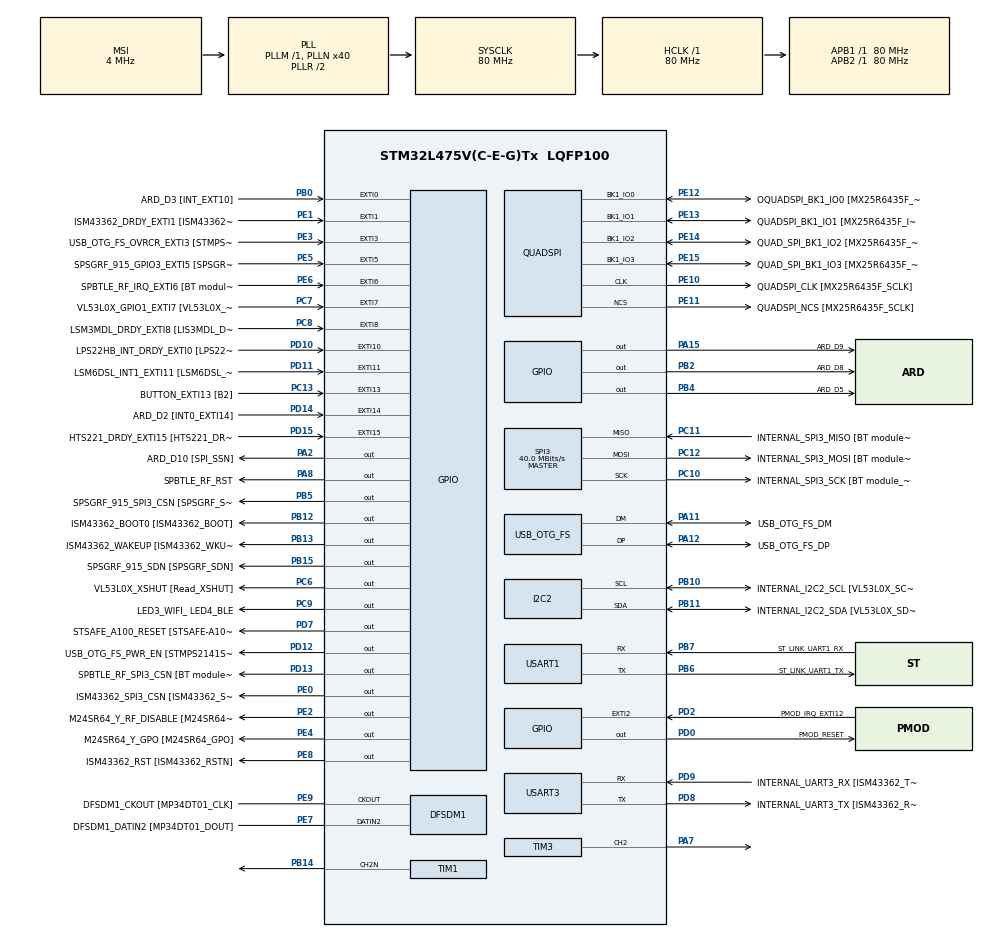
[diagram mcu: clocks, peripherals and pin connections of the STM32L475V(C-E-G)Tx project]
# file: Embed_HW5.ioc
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I2C2.Timing=0x10909CEC
Mcu.Family=STM32L4
Mcu.Name=STM32L475V(C-E-G)Tx
Mcu.Package=LQFP100
NVIC.EXTI15_10_IRQn=true\:0\:0\:false\:false\:true\:true\:true\:true
NVIC.EXTI9_5_IRQn=true\:0\:0\:false\:false\:true\:true\:true\:true
NVIC.PriorityGroup=NVIC_PRIORITYGROUP_4
PA0.GPIO_Label=ARD_D1 [UART4_TX]
PA0.Signal=UART4_TX
PA1.GPIO_Label=ARD_D0 [UART4_RX]
PA1.Signal=UART4_RX
PA10.GPIO_Label=USB_OTG_FS_ID
PA10.Signal=USB_OTG_FS_ID
PA11.GPIO_Label=USB_OTG_FS_DM
PA11.Mode=Device_Only
PA11.Signal=USB_OTG_FS_DM
PA12.GPIO_Label=USB_OTG_FS_DP
PA12.Mode=Device_Only
PA12.Signal=USB_OTG_FS_DP
PA13\ (JTMS-SWDIO).GPIO_Label=SYS_JTMS_SWDIO
PA13\ (JTMS-SWDIO).Mode=Serial_Wire
PA13\ (JTMS-SWDIO).Signal=SYS_JTMS-SWDIO
PA14\ (JTCK-SWCLK).GPIO_Label=SYS_JTCK_SWCLK
PA14\ (JTCK-SWCLK).Mode=Serial_Wire
PA14\ (JTCK-SWCLK).Signal=SYS_JTCK-SWCLK
PA15\ (JTDI).GPIO_Label=ARD_D9
PA15\ (JTDI).Signal=GPIO_Output
PA2.GPIO_Label=ARD_D10 [SPI_SSN]
PA2.Signal=GPIO_Output
PA3.GPIO_Label=ARD_D4
PA3.Signal=S_TIM2_CH4
PA4.GPIO_Label=ARD_D7
PA4.Signal=ADCx_IN9
PA5.GPIO_Label=ARD_D13 [SPI1_SCK]
PA5.Signal=SPI1_SCK
PA6.GPIO_Label=ARD_D12 [SPI1_MISO]
PA6.Signal=SPI1_MISO
PA7.Signal=S_TIM3_CH2
PA8.GPIO_Label=SPBTLE_RF_RST
PA8.Signal=GPIO_Output
PA9.GPIO_Label=USB_OTG_FS_VBUS [STMPS2141STR_OUT]
PA9.Signal=USB_OTG_FS_VBUS
PB0.GPIO_Label=ARD_D3 [INT_EXT10]
PB0.Signal=GPXTI0
PB1.GPIO_Label=ARD_D6 [ADC1_IN6]
PB1.Signal=ADCx_IN16
PB10.GPIO_Label=INTERNAL_I2C2_SCL [VL53L0X_SCL]
PB10.GPIO_Pu=GPIO_PULLUP
PB10.Mode=I2C
PB10.Signal=I2C2_SCL
PB11.GPIO_Label=INTERNAL_I2C2_SDA [VL53L0X_SDA]
PB11.GPIO_Pu=GPIO_PULLUP
PB11.Mode=I2C
PB11.Signal=I2C2_SDA
PB12.GPIO_Label=ISM43362_BOOT0 [ISM43362_BOOT]
PB12.Signal=GPIO_Output
PB13.GPIO_Label=ISM43362_WAKEUP [ISM43362_WKUP]
PB13.Signal=GPIO_Output
PB14.Mode=PWM Generation2 CH2N
PB14.Signal=TIM1_CH2N
PB15.GPIO_Label=SPSGRF_915_SDN [SPSGRF_SDN]
PB15.Signal=GPIO_Output
PB2.GPIO_Label=ARD_D8
PB2.Signal=GPIO_Output
PB3\ (JTDO-TRACESWO).GPIO_Label=SYS_JTD0_SWO
PB3\ (JTDO-TRACESWO).Signal=SYS_JTDO-SWO
PB4\ (NJTRST).GPIO_Label=ARD_D5
PB4\ (NJTRST).Signal=GPIO_Output
PB5.GPIO_Label=SPSGRF_915_SPI3_CSN [SPSGRF_SPI_CS]
PB5.PinState=GPIO_PIN_SET
PB5.Signal=GPIO_Output
PB6.GPIO_Label=ST_LINK_UART1_TX
PB6.Mode=Asynchronous
PB6.Signal=USART1_TX
PB7.GPIO_Label=ST_LINK_UART1_RX
PB7.Mode=Asynchronous
PB7.Signal=USART1_RX
PB8.GPIO_Label=ARD_D15 [I2C1_SCL]
PB8.Signal=I2C1_SCL
PB9.GPIO_Label=ARD_D14 [I2C1_SDA]
PB9.Signal=I2C1_SDA
PC0.GPIO_Label=ARD_A5 [ADC]
PC0.Signal=ADCx_IN1
PC1.GPIO_Label=ARD_A4 [ADC]
PC1.Signal=ADCx_IN2
PC10.GPIO_Label=INTERNAL_SPI3_SCK [BT module_SPI_SCLK] [ISM43362_SCK]
PC10.Mode=Full_Duplex_Master
PC10.Signal=SPI3_SCK
PC11.GPIO_Label=INTERNAL_SPI3_MISO [BT module_SPI_MISO] [ISM43362_MISO]
PC11.Mode=Full_Duplex_Master
PC11.Signal=SPI3_MISO
PC12.GPIO_Label=INTERNAL_SPI3_MOSI [BT module_SPI_MOSI] [ISM43362_MOSI]
PC12.Mode=Full_Duplex_Master
PC12.Signal=SPI3_MOSI
PC13.GPIO_Label=BUTTON_EXTI13 [B2]
PC13.GPIO_ModeDefaultEXTI=GPIO_MODE_IT_FALLING
PC13.Signal=GPXTI13
PC14-OSC32_IN\ (PC14).Mode=LSE-External-Oscillator
PC14-OSC32_IN\ (PC14).Signal=RCC_OSC32_IN
PC15-OSC32_OUT\ (PC15).Mode=LSE-External-Oscillator
PC15-OSC32_OUT\ (PC15).Signal=RCC_OSC32_OUT
PC2.GPIO_Label=ARD_A3 [ADC]
PC2.Signal=ADCx_IN3
PC3.GPIO_Label=ARD_A2 [ADC]
PC3.Signal=ADCx_IN4
PC4.GPIO_Label=ARD_A1 [ADC]
PC4.Signal=ADCx_IN13
PC5.GPIO_Label=ARD_A0 [ADC]
PC5.Signal=ADCx_IN14
PC6.GPIO_Label=VL53L0X_XSHUT [Read_XSHUT]
PC6.Signal=GPIO_Output
PC7.GPIO_Label=VL53L0X_GPIO1_EXTI7 [VL53L0X_GPIO1]
PC7.Signal=GPXTI7
PC8.GPIO_Label=LSM3MDL_DRDY_EXTI8 [LIS3MDL_DRDY]
PC8.Signal=GPXTI8
PC9.GPIO_Label=LED3_WIFI_ LED4_BLE
PC9.Signal=GPIO_Output
PD0.GPIO_Label=PMOD_RESET
PD0.Signal=GPIO_Output
PD1.GPIO_Label=PMOD_SPI2_SCK
PD1.Signal=SPI2_SCK
PD10.GPIO_Label=LPS22HB_INT_DRDY_EXTI0 [LPS22HB_INT_DRDY] 
PD10.Signal=GPXTI10
PD11.GPIO_Label=LSM6DSL_INT1_EXTI11 [LSM6DSL_INT1]
PD11.Signal=GPXTI11
PD12.GPIO_Label=USB_OTG_FS_PWR_EN [STMPS2141STR_EN]
PD12.Signal=GPIO_Output
PD13.GPIO_Label=SPBTLE_RF_SPI3_CSN [BT module_SPI_CS]
PD13.PinState=GPIO_PIN_SET
PD13.Signal=GPIO_Output
PD14.GPIO_Label=ARD_D2 [INT0_EXTI14]
PD14.Signal=GPXTI14
PD15.GPIO_Label=HTS221_DRDY_EXTI15 [HTS221_DRDY]
PD15.Signal=GPXTI15
PD2.GPIO_Label=PMOD_IRQ_EXTI12
PD2.Signal=GPXTI2
PD3.GPIO_Label=PMOD_UART2_CTS
PD3.Signal=USART2_CTS
PD4.GPIO_Label=PMOD_UART2_RTS
PD4.Signal=USART2_RTS
PD5.GPIO_Label=PMOD_UART2_TX
PD5.Signal=USART2_TX
PD6.GPIO_Label=PMOD_UART2_RX
PD6.Signal=USART2_RX
PD7.GPIO_Label=STSAFE_A100_RESET [STSAFE-A100_RESET]
PD7.Signal=GPIO_Output
PD8.GPIO_Label=INTERNAL_UART3_TX [ISM43362_RX]
PD8.Mode=Asynchronous
PD8.Signal=USART3_TX
PD9.GPIO_Label=INTERNAL_UART3_RX [ISM43362_TX]
PD9.Mode=Asynchronous
PD9.Signal=USART3_RX
PE0.GPIO_Label=ISM43362_SPI3_CSN [ISM43362_SSN]
PE0.PinState=GPIO_PIN_SET
PE0.Signal=GPIO_Output
PE1.GPIO_Label=ISM43362_DRDY_EXTI1 [ISM43362_DATARDY]
PE1.Signal=GPXTI1
PE10.GPIO_Label=QUADSPI_CLK [MX25R6435F_SCLK]
PE10.Mode=Single Bank
PE10.Signal=QUADSPI_CLK
PE11.GPIO_Label=QUADSPI_NCS [MX25R6435F_SCLK]
PE11.Mode=Single Bank
PE11.Signal=QUADSPI_NCS
PE12.GPIO_Label=OQUADSPI_BK1_IO0 [MX25R6435F_IO0]
PE12.Mode=Single Bank
PE12.Signal=QUADSPI_BK1_IO0
PE13.GPIO_Label=QUADSPI_BK1_IO1 [MX25R6435F_IO1]
PE13.Mode=Single Bank
PE13.Signal=QUADSPI_BK1_IO1
PE14.GPIO_Label=QUAD_SPI_BK1_IO2 [MX25R6435F_IO2]
PE14.Mode=Single Bank
PE14.Signal=QUADSPI_BK1_IO2
PE15.GPIO_Label=QUAD_SPI_BK1_IO3 [MX25R6435F_IO3]
PE15.Mode=Single Bank
PE15.Signal=QUADSPI_BK1_IO3
PE2.GPIO_Label=M24SR64_Y_RF_DISABLE [M24SR64_RFDIS]
PE2.Signal=GPIO_Output
PE3.GPIO_Label=USB_OTG_FS_OVRCR_EXTI3 [STMPS2141STR_FAULT]
PE3.Signal=GPXTI3
PE4.GPIO_Label=M24SR64_Y_GPO [M24SR64_GPO]
PE4.Signal=GPIO_Output
PE5.GPIO_Label=SPSGRF_915_GPIO3_EXTI5 [SPSGRF_GPIO_3]
PE5.Signal=GPXTI5
PE6.GPIO_Label=SPBTLE_RF_IRQ_EXTI6 [BT module_SPI_IRQ]
PE6.Signal=GPXTI6
PE7.GPIO_Label=DFSDM1_DATIN2 [MP34DT01_DOUT]
PE7.Signal=S_DATAIN2DFSDM1
PE8.GPIO_Label=ISM43362_RST [ISM43362_RSTN]
PE8.Signal=GPIO_Output
PE9.GPIO_Label=DFSDM1_CKOUT [MP34DT01_CLK]
PE9.Signal=S_CKOUTDFSDM1
ProjectManager.HeapSize=0x200
ProjectManager.StackSize=0x400
ProjectManager.TargetToolchain=STM32CubeIDE
QUADSPI.ClockPrescaler=2
QUADSPI.FifoThreshold=4
QUADSPI.FlashSize=23
QUADSPI.SampleShifting=QSPI_SAMPLE_SHIFTING_HALFCYCLE
RCC.ADCFreq_Value=48000000
RCC.AHBFreq_Value=80000000
RCC.APB1Freq_Value=80000000
RCC.APB1TimFreq_Value=80000000
RCC.APB2Freq_Value=80000000
RCC.APB2TimFreq_Value=80000000
RCC.CortexFreq_Value=80000000
RCC.HCLKFreq_Value=80000000
RCC.HSE_VALUE=8000000
RCC.HSI_VALUE=16000000
RCC.MSI_VALUE=4000000
RCC.PLLN=40
RCC.PLLSAI1N=24
RCC.SYSCLKFreq_VALUE=80000000
RCC.SYSCLKSource=RCC_SYSCLKSOURCE_PLLCLK
RCC.USBFreq_Value=48000000
RCC.VCOOutputFreq_Value=160000000
SH.ADCx_IN1.0=ADC1_IN1
SH.ADCx_IN13.0=ADC1_IN13
SH.ADCx_IN14.0=ADC1_IN14
SH.ADCx_IN16.0=ADC1_IN16
SH.ADCx_IN2.0=ADC1_IN2
SH.ADCx_IN3.0=ADC1_IN3
SH.ADCx_IN4.0=ADC1_IN4
SH.ADCx_IN9.0=ADC1_IN9
SH.S_CKOUTDFSDM1.0=DFSDM1_CKOUT,CKOUT
SH.S_CKOUTDFSDM1.1=DFSDM1_CKOUT,PDM_SPI_Input_from_ch12_and_Internal_Clock
SH.S_DATAIN2DFSDM1.0=DFSDM1_DATIN2,PDM_SPI_Input_from_ch12_and_Internal_Clock
SH.S_TIM2_CH4.0=TIM2_CH4
SH.S_TIM3_CH2.0=TIM3_CH2,PWM Generation2 CH2
SPI3.CalculateBaudRate=40.0 MBits/s
SPI3.Direction=SPI_DIRECTION_2LINES
SPI3.Mode=SPI_MODE_MASTER
SPI3.VirtualType=VM_MASTER
TIM1.Channel-PWM\ Generation2\ CH2N=TIM_CHANNEL_2
TIM1.Period=1000-1
TIM1.Prescaler=80-1
TIM1.Pulse-PWM\ Generation2\ CH2N=500
TIM3.Channel-PWM\ Generation2\ CH2=TIM_CHANNEL_2
TIM3.Period=1000-1
TIM3.Prescaler=80-1
TIM3.Pulse-PWM\ Generation2\ CH2=500
USART1.VirtualMode-Asynchronous=VM_ASYNC
USART3.VirtualMode-Asynchronous=VM_ASYNC
USB_OTG_FS.VirtualMode=Device_Only
VP_TIM1_VS_ClockSourceINT.Mode=Internal
VP_TIM3_VS_ClockSourceINT.Mode=Internal
board=B-L475E-IOT01A2

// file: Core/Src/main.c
/* USER CODE BEGIN Header */
/**
  ******************************************************************************
  * @file           : main.c
  * @brief          : Main program body
  ******************************************************************************
  * @attention
  *
  * Copyright (c) 2024 STMicroelectronics.
  * All rights reserved.
  *
  * This software is licensed under terms that can be found in the LICENSE file
  * in the root directory of this software component.
  * If no LICENSE file comes with this software, it is provided AS-IS.
  *
  ******************************************************************************
  */
/* USER CODE END Header */
#include "main.h"
#include "dfsdm.h"
#include "i2c.h"
#include "quadspi.h"
#include "spi.h"
#include "tim.h"
#include "usart.h"
#include "usb_otg.h"
#include "gpio.h"

void SystemClock_Config(void);

/* USER CODE BEGIN 0 */

int flag = 0;

float LED_Breath(float duty_cycle){
	if (flag == 0){
		duty_cycle = duty_cycle + 0.07;
	}
	if (flag == 1){
		duty_cycle = duty_cycle - 0.07;
	}

	if (duty_cycle > 0.8) {
		flag = 1;
	}
	if (duty_cycle < 0.1) {
		flag = 0;
	}

	HAL_Delay(50);
	return duty_cycle;
}

/* USER CODE END 0 */

int main(void)
{

  /* MCU Configuration--------------------------------------------------------*/

  /* Reset of all peripherals, Initializes the Flash interface and the Systick. */
  HAL_Init();

  /* Configure the system clock */
  SystemClock_Config();

  /* Initialize all configured peripherals */
  MX_GPIO_Init();
  MX_DFSDM1_Init();
  MX_I2C2_Init();
  MX_QUADSPI_Init();
  MX_SPI3_Init();
  MX_USART1_UART_Init();
  MX_USART3_UART_Init();
  MX_USB_OTG_FS_PCD_Init();
  MX_TIM1_Init();
  MX_TIM3_Init();
  /* USER CODE BEGIN 2 */

  HAL_TIMEx_PWMN_Start(&htim1, TIM_CHANNEL_2);
  // HAL_TIM_PWM_Start(&htim3, TIM_CHANNEL_2);

  float ARR = 999;
  float duty_cycle = 0.1;

  /* USER CODE END 2 */

  /* Infinite loop */
  /* USER CODE BEGIN WHILE */
  while (1)
  {
	  float new_duty_cycle = LED_Breath(duty_cycle);
	  htim1.Instance->CCR2 = ARR * new_duty_cycle;
	  duty_cycle = new_duty_cycle;
    /* USER CODE END WHILE */

  }
}

void SystemClock_Config(void)
{
  RCC_OscInitTypeDef RCC_OscInitStruct = {0};
  RCC_ClkInitTypeDef RCC_ClkInitStruct = {0};

  /** Configure the main internal regulator output voltage
  */
  if (HAL_PWREx_ControlVoltageScaling(PWR_REGULATOR_VOLTAGE_SCALE1) != HAL_OK)
  {
    Error_Handler();
  }

  /** Configure LSE Drive Capability
  */
  HAL_PWR_EnableBkUpAccess();
  __HAL_RCC_LSEDRIVE_CONFIG(RCC_LSEDRIVE_LOW);

  /** Initializes the RCC Oscillators according to the specified parameters
  * in the RCC_OscInitTypeDef structure.
  */
  RCC_OscInitStruct.OscillatorType = RCC_OSCILLATORTYPE_LSE|RCC_OSCILLATORTYPE_MSI;
  RCC_OscInitStruct.LSEState = RCC_LSE_ON;
  RCC_OscInitStruct.MSIState = RCC_MSI_ON;
  RCC_OscInitStruct.MSICalibrationValue = 0;
  RCC_OscInitStruct.MSIClockRange = RCC_MSIRANGE_6;
  RCC_OscInitStruct.PLL.PLLState = RCC_PLL_ON;
  RCC_OscInitStruct.PLL.PLLSource = RCC_PLLSOURCE_MSI;
  RCC_OscInitStruct.PLL.PLLM = 1;
  RCC_OscInitStruct.PLL.PLLN = 40;
  RCC_OscInitStruct.PLL.PLLP = RCC_PLLP_DIV7;
  RCC_OscInitStruct.PLL.PLLQ = RCC_PLLQ_DIV2;
  RCC_OscInitStruct.PLL.PLLR = RCC_PLLR_DIV2;
  if (HAL_RCC_OscConfig(&RCC_OscInitStruct) != HAL_OK)
  {
    Error_Handler();
  }

  /** Initializes the CPU, AHB and APB buses clocks
  */
  RCC_ClkInitStruct.ClockType = RCC_CLOCKTYPE_HCLK|RCC_CLOCKTYPE_SYSCLK
                              |RCC_CLOCKTYPE_PCLK1|RCC_CLOCKTYPE_PCLK2;
  RCC_ClkInitStruct.SYSCLKSource = RCC_SYSCLKSOURCE_PLLCLK;
  RCC_ClkInitStruct.AHBCLKDivider = RCC_SYSCLK_DIV1;
  RCC_ClkInitStruct.APB1CLKDivider = RCC_HCLK_DIV1;
  RCC_ClkInitStruct.APB2CLKDivider = RCC_HCLK_DIV1;

  if (HAL_RCC_ClockConfig(&RCC_ClkInitStruct, FLASH_LATENCY_4) != HAL_OK)
  {
    Error_Handler();
  }

  /** Enable MSI Auto calibration
  */
  HAL_RCCEx_EnableMSIPLLMode();
}

void Error_Handler(void)
{
  __disable_irq();
  while (1)
  {
  }
}
